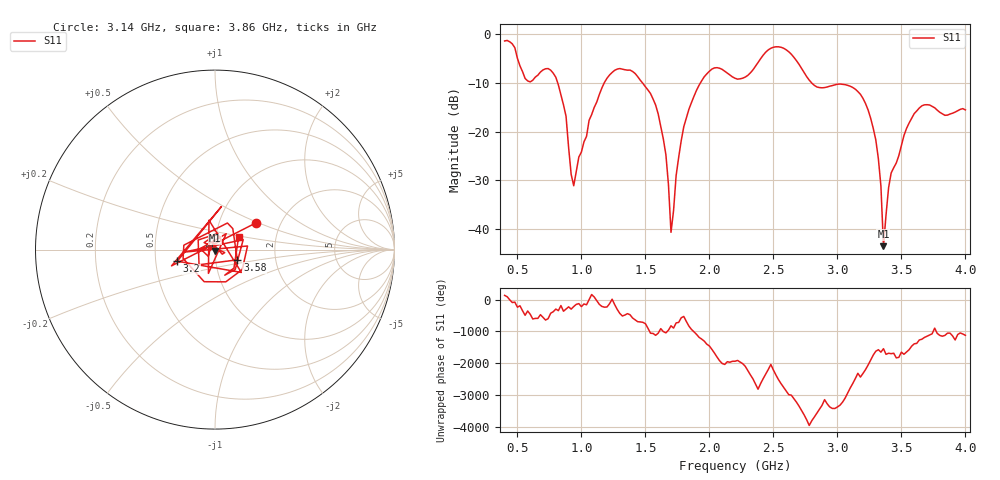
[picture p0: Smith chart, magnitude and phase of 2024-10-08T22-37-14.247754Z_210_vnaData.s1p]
! Created with skrf (http://scikit-rf.org).
# Hz S RI R 50.0
!freq ReS11 ImS11
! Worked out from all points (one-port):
!   181 points, 400 MHz to 4 GHz, reference 50 ohm
!   lowest |S11| = -43.5 dB at 3.36 GHz (marker M1), VSWR 1.01, Z = 49.8 - j0.646 ohm
!   |S11| at or under -10 dB: 815.2 MHz to 1.178 GHz (362.6 MHz wide, 36.4 % of centre); 1.478 GHz to 1.929 GHz (450.9 MHz wide, 26.5 % of centre); 2.8 GHz to end of sweep
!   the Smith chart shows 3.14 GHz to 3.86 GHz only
!   S11 on the Smith chart (normalised r, x): 3.14 GHz: 1.50, +0.48; 3.2 GHz: 0.65, -0.09; 3.58 GHz: 1.27, -0.15; 3.86 GHz: 1.29, +0.18
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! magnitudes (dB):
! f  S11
! 400 MHz  -1.3
! 580 MHz  -9.6
! 760 MHz  -7.4
! 860 MHz  -14.5
! 940 MHz  -31.1
! 1.06 GHz  -17.7
! 1.3 GHz  -7.0
! 1.58 GHz  -14.5
! 1.66 GHz  -24.7
! 1.7 GHz  -40.7
! 1.76 GHz  -25.3
! 1.84 GHz  -15.4
! 1.96 GHz  -8.7
! 2.2 GHz  -9.0
! 2.5 GHz  -2.6
! 2.66 GHz  -4.7
! 2.84 GHz  -10.8
! 3.1 GHz  -10.6
! 3.14 GHz  -11.3
! 3.2 GHz  -13.2
! 3.3 GHz  -21.7
! 3.34 GHz  -31.2
! 3.36 GHz  -43.5
! 3.42 GHz  -28.5
! 3.56 GHz  -18.2
! 3.58 GHz  -17.3
! 3.86 GHz  -16.6
! 4 GHz  -15.5
